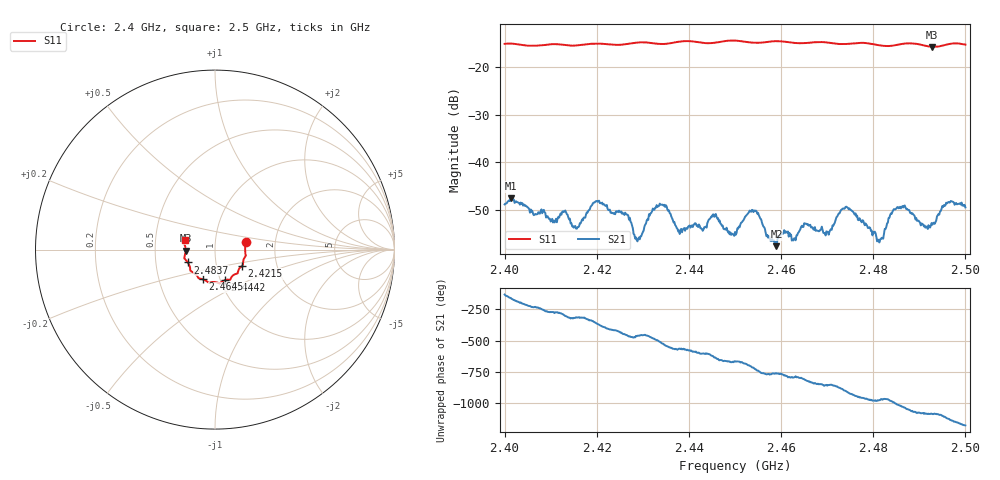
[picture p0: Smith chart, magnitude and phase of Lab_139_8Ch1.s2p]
# Hz S RI R 50
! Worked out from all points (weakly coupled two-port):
!   601 points, 2.4 GHz to 2.5 GHz, reference 50 ohm
!   highest |S21| = -47.66 dB at 2.4013 GHz (marker M1); lowest = -57.7 dB at 2.459 GHz (marker M2)
!   lowest |S11| = -15.7 dB at 2.4928 GHz (marker M3), VSWR 1.39, Z = 36 - j0.373 ohm
!   |S11| at or under -10 dB: start of sweep to end of sweep
!   S12 and S22 are empty: the file has one direction only
!   S11 on the Smith chart (normalised r, x): 2.4 GHz: 1.41, +0.12; 2.4215 GHz: 1.33, -0.25; 2.4442 GHz: 1.05, -0.37; 2.4645 GHz: 0.83, -0.29; 2.4837 GHz: 0.73, -0.11; 2.5 GHz: 0.71, +0.07
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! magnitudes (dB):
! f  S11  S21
! 2.4 GHz  -15.1  -48.9
! 2.4013 GHz  -15.0  -47.7
! 2.4167 GHz  -15.3  -52.5
! 2.4215 GHz  -15.1  -48.9
! 2.4267 GHz  -15.1  -51.1
! 2.4288 GHz  -14.8  -56.7
! 2.4333 GHz  -15.1  -49.3
! 2.438 GHz  -14.6  -55.2
! 2.4442 GHz  -15.0  -52.4
! 2.45 GHz  -14.4  -54.7
! 2.4542 GHz  -14.9  -50.2
! 2.459 GHz  -14.5  -57.7
! 2.4645 GHz  -15.0  -53.4
! 2.4667 GHz  -14.8  -53.8
! 2.4702 GHz  -14.8  -54.8
! 2.4743 GHz  -15.1  -49.5
! 2.4813 GHz  -15.4  -57.0
! 2.4833 GHz  -15.6  -51.8
! 2.4837 GHz  -15.5  -51.2
! 2.4928 GHz  -15.7  -53.2
! 2.4963 GHz  -15.2  -48.4
! 2.5 GHz  -15.3  -49.6
